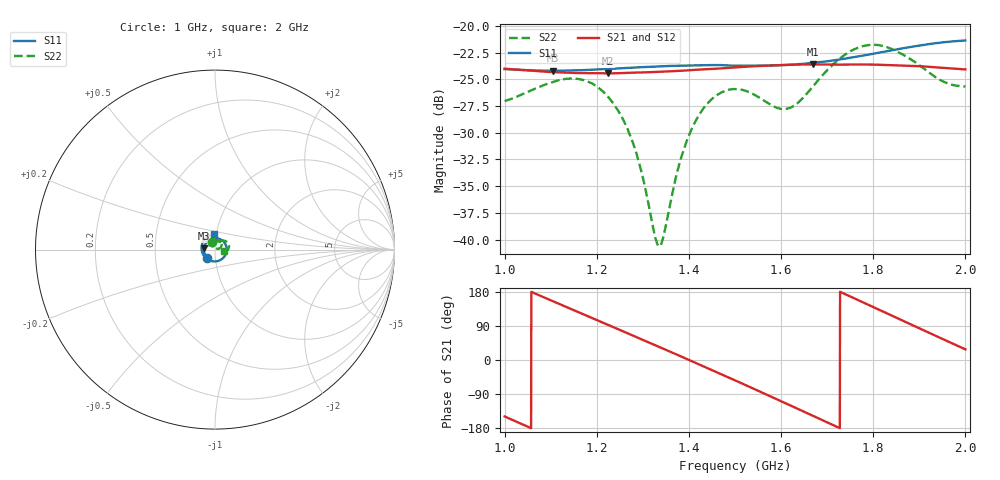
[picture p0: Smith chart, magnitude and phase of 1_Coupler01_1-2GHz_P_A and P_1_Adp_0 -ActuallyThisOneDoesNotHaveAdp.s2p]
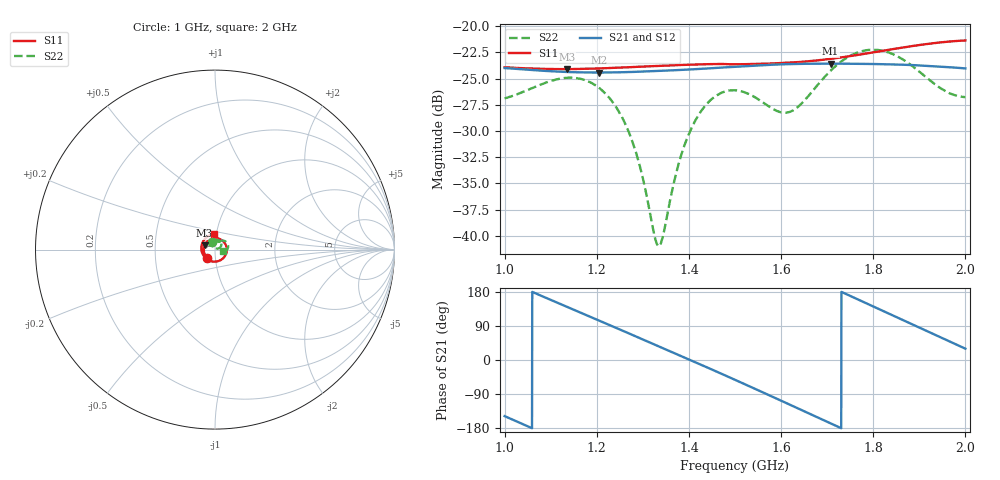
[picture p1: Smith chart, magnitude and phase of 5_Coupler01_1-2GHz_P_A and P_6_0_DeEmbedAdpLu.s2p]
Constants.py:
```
import os
import math

# ---------------------------------------------------------------------------
# This Section should be changed every run, choosing the data to be processed
# ---------------------------------------------------------------------------

# Directories
DATA_DIR = "/Volumes/noise/CHIPS/Data/Data_AnalogDevice/July_2025"
OUT_DIR = "./correlator_testing_output"
CW_DIR = os.path.join(OUT_DIR, "CW")
ND_DIR = os.path.join(OUT_DIR, "NoiseDiode")
LOAD_DIR = os.path.join(OUT_DIR, "LoadCal")
DUT_DIR = os.path.join(OUT_DIR, "DUT")

# Dates + file formats
CW_DATE = "25-07-16-16-22-50"
CW_FILENAME = "f_CW{freq}GHz_PwrSensorOnCouplerZUDC20-5R23-S+PortB_Split02P1P2OnCorrelatorCh1Ch2_NSamp131072_PWR-30dBm_Att20dB_Ch115dBCh225dB__Fs{FS}GHz_{date}_0.npy"

ND_DATE = "25-07-16-09-12-45"
ND_FILENAME = "NoiseDiode136_AttCh115dBCh225dB_Splitter02_Port0_NSamp2097152_Att0dB__Fs10.0GHz_{date}"

LOAD_DATE = "25-07-16-09-25-10"
LOAD_FILENAME = "LoadCal_AttCh1_15dBCh2_25dB_NSamp2097152__Fs10.0GHz_{date}"

DUT_DATE = "25-07-22-12-17-17"
DUT_FILENAME = "DUT_ZKL2Plus_AttCh1_15dBCh2_25dB_NSamp2097152__Fs10.0GHz_{date}"

# CW
FILE1 = "alphabeta/1_Coupler01_1-2GHz_P_A and P_1_Adp_0 -ActuallyThisOneDoesNotHaveAdp.s2p"
FILE2 = "alphabeta/2_S11_S21_S22_PA_PB_By XifengLu.txt"
FILE3 = "alphabeta/3_Gamma_PowerMeterSenor_By XifengLu.txt"
FILE4 = "alphabeta/4_S11_CH1_ATT14dB.s1p"
FILE5 = "alphabeta/5_Coupler01_1-2GHz_P_A and P_6_0_DeEmbedAdpLu.s2p"
FILE6 = "alphabeta/6_S11_CH2_ATT26dB.s1p"

# Noise Diode
CAL_FILE = "alphabeta/Diode136_X1_cal_data.txt"
CH1_FILE = "alphabeta/ZPAD-23-S+_CommonP1_20241024 1.s2p"
CH2_FILE = "alphabeta/ZPAD-23-S+_CommonP2_20241024 1.s2p"

# Load and DUT
CW_GAIN_FILE = f"correlator_testing_output/CW/Processed_CW_{CW_DATE}.csv"
CW_GAIN_HEADERS = ['Frequency', 'S31', 'S46']

ND_GAIN_FILE = f"./correlator_testing_output/NoiseDiode/Processed_Noise_{ND_DATE}.csv"
ND_GAIN_HEADERS = ['Freq (GHz)', 'Ch1 Gain', 'Ch2 Gain', 'Phase Difference (rad)']

LOAD_FILE = f"./correlator_testing_output/LoadCal/Processed_Load_{LOAD_DATE}.csv"
LOAD_HEADERS = ['Freq', 'Ch1 PSD', 'Ch2 PSD']

# DUT only
DUT_S_FILE = "alphabeta/DUT1.s2p"
S11_FILE = "alphabeta/S11_CH1_ATT14dB.s1p"
S66_FILE = "alphabeta/S66_CH2_ATT26dB - Copy.s1p"


# ---------------------------------------------------------------------------
# This Section contains constants that shoudn't need to be changed every time
# ---------------------------------------------------------------------------


# ADC Settings
ADC_RESOLUTION = 12
VOLTAGE_RANGE = 5.0
VOLT_PER_TICK = VOLTAGE_RANGE / (2**ADC_RESOLUTION - 1)
FS = 10.0 # Sampling frequency in GHz

# Constants
SAMPLE_CUTOFF = 5000
MINIMUM_FREQUENCY = 1e9  # 1 GHz
MAXIMUM_FREQUENCY = 2e9
DATASET_LENGTH = math.floor(MAXIMUM_FREQUENCY * SAMPLE_CUTOFF / FS / 1e9) - math.ceil(MINIMUM_FREQUENCY * SAMPLE_CUTOFF / FS / 1e9) + 1
NUM_TRACES = 500 # max 500
COLORS = ["#223A64","#fa753c", "#ffda49", "#a9d574", "#3ca590", "#626c9d"]
KB = 1.380649e-23  # Boltzmann constant in J/K
T_AMB = 290 # Ambient temperature in K
R_0 = 50  # Ohms

# Logarithm and conversion constants
LOG_MINIMUM = 1e-20  # Minimum value for logarithm calculations to avoid log(0)
DBM_REFERENCE_DB = 30  # dBm to Watts conversion factor
MW_TO_W = 1e-3  # Milliwatt to Watt conversion
DEFAULT_INTERP_POINTS = 2001  # Default number of interpolation points
```
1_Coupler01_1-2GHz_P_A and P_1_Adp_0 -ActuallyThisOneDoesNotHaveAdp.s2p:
# GHZ S RI R 50
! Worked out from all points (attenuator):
!   2001 points, 1 GHz to 2 GHz, reference 50 ohm
!   highest |S21| = -23.61 dB at 1.669 GHz (marker M1); lowest = -24.4 dB at 1.224 GHz (marker M2)
!   lowest |S11| = -24.2 dB at 1.105 GHz (marker M3), VSWR 1.13, Z = 44.2 + j0.655 ohm
!   |S11| at or under -10 dB: start of sweep to end of sweep
!   |S22| runs from -40.6 to -21.8 dB; largest |S21 - S12| = 7.5e-05
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1  -0.0443 -0.0444  -0.054 -0.0325  -0.0541 -0.0325  -0.0164 0.0414
1.105  -0.0613 0.00738  -0.0551 0.0257  -0.0551 0.0257  0.00473 0.0545
1.2245  -0.0252 0.0576  -0.00279 0.0599  -0.00278 0.0599  0.0374 0.0278
1.279  0.00358 0.0637  0.0262 0.0544  0.0263 0.0545  0.0269 0.00823
1.3355  0.0331 0.0555  0.0503 0.0345  0.0503 0.0345  0.00496 0.00788
1.41  0.0603 0.0252  0.062 -0.00545  0.062 -0.00546  -0.00266 0.0342
1.5  0.0601 -0.0251  0.038 -0.0514  0.038 -0.0515  0.0247 0.0442
1.607  0.0136 -0.0642  -0.0253 -0.0605  -0.0253 -0.0606  0.0261 0.0313
1.6695  -0.0238 -0.0628  -0.0557 -0.0354  -0.0558 -0.0354  0.0285 0.0437
1.8005  -0.074 -0.00463  -0.05 0.0429  -0.0501 0.0429  0.0762 0.0294
2  -0.00585 0.0853  0.0552 0.0295  0.0552 0.0295  0.0517 -0.00629
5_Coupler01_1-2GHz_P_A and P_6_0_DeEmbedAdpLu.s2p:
# GHZ S RI R 50
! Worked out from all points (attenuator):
!   2001 points, 1 GHz to 2 GHz, reference 50 ohm
!   highest |S21| = -23.57 dB at 1.708 GHz (marker M1); lowest = -24.4 dB at 1.204 GHz (marker M2)
!   lowest |S11| = -24.1 dB at 1.135 GHz (marker M3), VSWR 1.13, Z = 44.5 + j2.05 ohm
!   |S11| at or under -10 dB: start of sweep to end of sweep
!   |S22| runs from -41.0 to -22.2 dB; largest |S21 - S12| = 8.5e-05
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1  -0.045 -0.0451  -0.0536 -0.0334  -0.0536 -0.0334  -0.019 0.0411
1.135  -0.058 0.0229  -0.0466 0.0386  -0.0466 0.0387  0.0123 0.0554
1.2045  -0.035 0.0522  -0.0147 0.0583  -0.0148 0.0583  0.0337 0.0381
1.273  0.000204 0.0637  0.0221 0.0563  0.0221 0.0563  0.0278 0.011
1.3345  0.0328 0.0558  0.0493 0.0361  0.0494 0.0361  0.00421 0.00787
1.4085  0.0604 0.0256  0.0622 -0.00329  0.0622 -0.0033  -0.00498 0.0333
1.5  0.0605 -0.026  0.0392 -0.0507  0.0392 -0.0507  0.0219 0.0443
1.6145  0.00907 -0.0663  -0.0283 -0.0595  -0.0283 -0.0596  0.0226 0.0315
1.7075  -0.045 -0.0534  -0.0646 -0.0147  -0.0647 -0.0147  0.0356 0.0499
1.8175  -0.0759 0.00528  -0.0437 0.0493  -0.0437 0.0494  0.0731 0.0228
2  -0.00603 0.0853  0.0546 0.0313  0.0546 0.0313  0.0456 -0.0051
